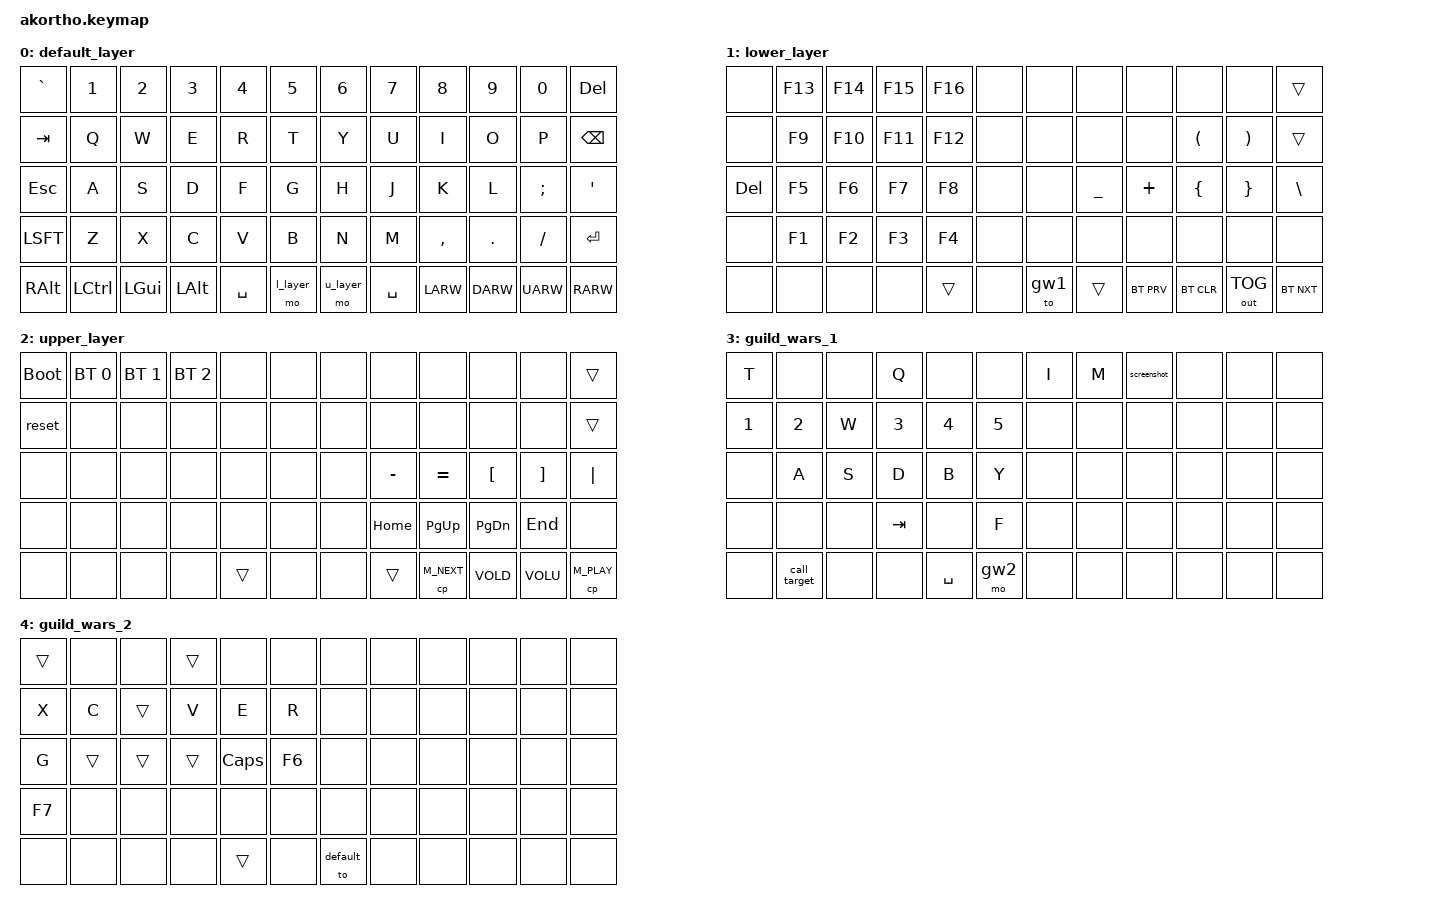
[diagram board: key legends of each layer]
#include <behaviors.dtsi>
#include <dt-bindings/zmk/keys.h>
#include <dt-bindings/zmk/bt.h>
#include <dt-bindings/zmk/outputs.h>

#define default 0
#define l_layer 1
#define u_layer 2
#define gw1 3
#define gw2 4

#define AT1 N1
#define AT2 N2
#define AT3 N3
#define AT4 N4
#define AT5 N5

#define HEAL Q
#define INTERACT F
#define INVENTORY I
#define MAP M
#define MOUNT T
#define WP_SWAP TAB

#define MOUNT_1 B
#define MOUNT_2 Y
#define U1 X
#define U2 C
#define U3 V
#define ES E
#define PS3 R
#define PS4 G
#define PS5 CAPS
#define PS6 F6
#define PS7 F7

/ {

	ZMK_MACRO(screenshot,
        wait-ms = <30>;
        tap-ms = <40>;
        bindings = <&kp LCTL>;
    )

	ZMK_MACRO(call_target,
        wait-ms = <30>;
        tap-ms = <40>;
        bindings = <&macro_press &kp LCTL &kp T>, <&macro_release &kp LCTL &kp T>;
    )
  
	keymap {
		compatible = "zmk,keymap";

		default_layer {
			bindings = <
	&kp GRAV &kp N1 &kp N2 &kp N3 &kp N4 &kp N5 &kp N6 &kp N7 &kp N8 &kp N9 &kp N0 &kp DEL
	&kp TAB &kp Q &kp W &kp E &kp R &kp T &kp Y &kp U &kp I &kp O &kp P &kp BKSP
	&kp ESC &kp A &kp S &kp D &kp F &kp G &kp H &kp J &kp K &kp L &kp SCLN &kp QUOT
	&kp LSFT &kp Z &kp X &kp C &kp V &kp B &kp N &kp M &kp CMMA &kp DOT &kp FSLH &kp RET
	&kp RALT &kp LCTL &kp LGUI &kp LALT &kp SPC &mo l_layer &mo u_layer &kp SPC &kp LARW &kp DARW &kp UARW &kp RARW
			>;

		};
		lower_layer {
		bindings = <
	&none &kp F13 &kp F14 &kp F15 &kp F16 &none &none &none &none &none &none &trans
	&none &kp F9 &kp F10 &kp F11 &kp F12 &none &none &none &none &kp LPAR &kp RPAR &trans
	&kp DEL &kp F5 &kp F6 &kp F7 &kp F8 &none &none &kp UNDERSCORE &kp PLUS &kp LBRC &kp RBRC &kp BSLH
	&none &kp F1 &kp F2 &kp F3 &kp F4 &none &none &none &none &none &none &none
	&none &none &none &none &trans &none &to gw1 &trans &bt BT_PRV &bt BT_CLR &out OUT_TOG &bt BT_NXT
	>;

		};
	
		upper_layer {
		bindings = < 
	&bootloader &bt BT_SEL 0 &bt BT_SEL 1 &bt BT_SEL 2 &none &none &none &none &none &none &none &trans
	&reset &none &none &none &none &none &none &none &none &none &none &trans
	&none &none &none &none &none &none &none &kp MINUS &kp EQUAL &kp LBKT &kp RBKT &kp PIPE
	&none &none &none &none &none &none &none &kp HOME &kp PG_UP &kp PG_DN &kp END &none
	&none &none &none &none &trans &none &none &trans &cp M_NEXT &kp VOLD &kp VOLU &cp M_PLAY
	>;
		};

	guild_wars_1 {
		bindings = < 
	&kp MOUNT &none &none &kp HEAL &none &none &kp INVENTORY &kp MAP &screenshot &none &none &none
	&kp AT1 &kp AT2 &kp W &kp AT3 &kp AT4 &kp AT5 &none &none &none &none &none &none
	&none &kp A &kp S &kp D &kp MOUNT_1 &kp MOUNT_2 &none &none &none &none &none &none
	&none &none &none &kp WP_SWAP &none &kp INTERACT &none &none &none &none &none &none
	&none &call_target &none &none &kp SPC &mo gw2 &none &none &none &none &none &none
	>;
		};
	
	guild_wars_2 {
		bindings = < 
	&trans &none &none &trans &none &none &none &none &none &none &none &none
	&kp U1 &kp U2 &trans &kp U3 &kp ES &kp PS3 &none &none &none &none &none &none
	&kp PS4 &trans &trans &trans &kp PS5 &kp PS6 &none &none &none &none &none &none
	&kp PS7 &none &none &none &none &none &none &none &none &none &none &none
	&none &none &none &none &trans &none &to default &none &none &none &none &none
	>;
		};
	};
};
